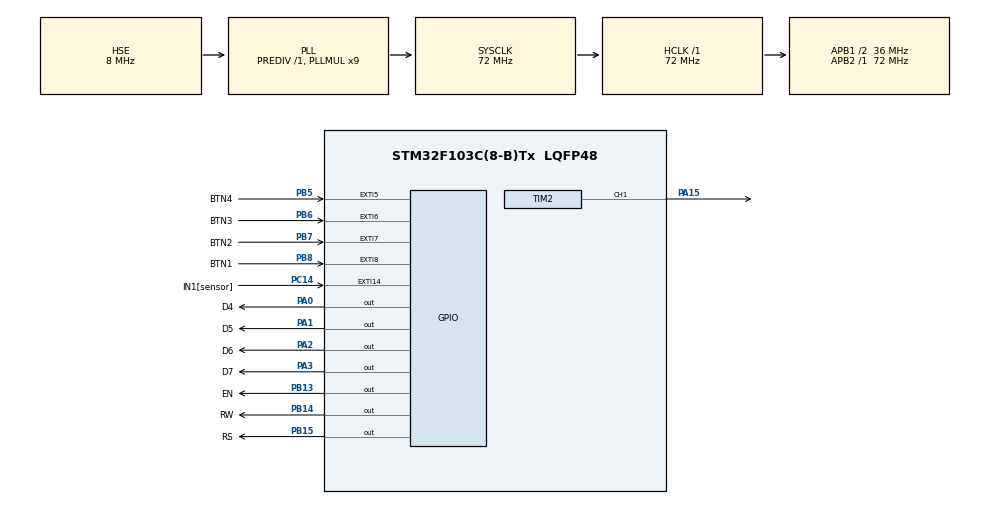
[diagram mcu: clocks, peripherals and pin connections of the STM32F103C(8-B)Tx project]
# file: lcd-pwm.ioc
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Mcu.Family=STM32F1
Mcu.Name=STM32F103C(8-B)Tx
Mcu.Package=LQFP48
NVIC.EXTI15_10_IRQn=true\:0\:0\:false\:false\:true\:true\:true
NVIC.EXTI9_5_IRQn=true\:0\:0\:false\:false\:true\:true\:true
NVIC.PriorityGroup=NVIC_PRIORITYGROUP_4
NVIC.TIM2_IRQn=true\:0\:0\:false\:false\:true\:true\:true
PA0-WKUP.GPIO_Label=D4
PA0-WKUP.Signal=GPIO_Output
PA1.GPIO_Label=D5
PA1.Signal=GPIO_Output
PA13.Mode=Serial_Wire
PA13.Signal=SYS_JTMS-SWDIO
PA14.Mode=Serial_Wire
PA14.Signal=SYS_JTCK-SWCLK
PA15.Signal=S_TIM2_CH1_ETR
PA2.GPIO_Label=D6
PA2.Signal=GPIO_Output
PA3.GPIO_Label=D7
PA3.Signal=GPIO_Output
PB13.GPIO_Label=EN
PB13.Signal=GPIO_Output
PB14.GPIO_Label=RW
PB14.Signal=GPIO_Output
PB15.GPIO_Label=RS
PB15.Signal=GPIO_Output
PB5.GPIO_Label=BTN4
PB5.GPIO_ModeDefaultEXTI=GPIO_MODE_IT_FALLING
PB5.GPIO_PuPd=GPIO_PULLUP
PB5.Signal=GPXTI5
PB6.GPIO_Label=BTN3
PB6.GPIO_ModeDefaultEXTI=GPIO_MODE_IT_FALLING
PB6.GPIO_PuPd=GPIO_PULLUP
PB6.Signal=GPXTI6
PB7.GPIO_Label=BTN2
PB7.GPIO_ModeDefaultEXTI=GPIO_MODE_IT_FALLING
PB7.GPIO_PuPd=GPIO_PULLUP
PB7.Signal=GPXTI7
PB8.GPIO_Label=BTN1
PB8.GPIO_ModeDefaultEXTI=GPIO_MODE_IT_FALLING
PB8.GPIO_PuPd=GPIO_PULLUP
PB8.Signal=GPXTI8
PC14-OSC32_IN.GPIO_Label=IN1[sensor]
PC14-OSC32_IN.GPIO_ModeDefaultEXTI=GPIO_MODE_IT_FALLING
PC14-OSC32_IN.Signal=GPXTI14
PD0-OSC_IN.Mode=HSE-External-Oscillator
PD0-OSC_IN.Signal=RCC_OSC_IN
PD1-OSC_OUT.Mode=HSE-External-Oscillator
PD1-OSC_OUT.Signal=RCC_OSC_OUT
ProjectManager.HeapSize=0x200
ProjectManager.StackSize=0x400
ProjectManager.TargetToolchain=STM32CubeIDE
RCC.AHBFreq_Value=72000000
RCC.APB1CLKDivider=RCC_HCLK_DIV2
RCC.APB1Freq_Value=36000000
RCC.APB1TimFreq_Value=72000000
RCC.APB2Freq_Value=72000000
RCC.APB2TimFreq_Value=72000000
RCC.HCLKFreq_Value=72000000
RCC.PLLMUL=RCC_PLL_MUL9
RCC.PLLSourceVirtual=RCC_PLLSOURCE_HSE
RCC.SYSCLKFreq_VALUE=72000000
RCC.SYSCLKSource=RCC_SYSCLKSOURCE_PLLCLK
RCC.USBFreq_Value=72000000
SH.S_TIM2_CH1_ETR.0=TIM2_CH1,PWM Generation1 CH1
TIM2.AutoReloadPreload=TIM_AUTORELOAD_PRELOAD_ENABLE
TIM2.Channel-PWM\ Generation1\ CH1=TIM_CHANNEL_1
TIM2.Period=65534
TIM2.Prescaler=0
TIM3.Prescaler=71
VP_TIM2_VS_ClockSourceINT.Mode=Internal
VP_TIM3_VS_ClockSourceINT.Mode=Internal
board=custom

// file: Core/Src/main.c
/* USER CODE BEGIN Header */
/**
 ******************************************************************************
 * @file           : main.c
 * @brief          : Main program body
 ******************************************************************************
 * @attention
 *
 * <h2><center>&copy; Copyright (c) 2020 STMicroelectronics.
 * All rights reserved.</center></h2>
 *
 * This software component is licensed by ST under BSD 3-Clause license,
 * the "License"; You may not use this file except in compliance with the
 * License. You may obtain a copy of the License at:
 *                        opensource.org/licenses/BSD-3-Clause
 *
 ******************************************************************************
 */
/* USER CODE END Header */
#include "main.h"
#include "tim.h"
#include "gpio.h"

/* USER CODE BEGIN Includes */
#include "LCD1602.h"
#include "stdio.h"
/* USER CODE END Includes */

/* USER CODE BEGIN PTD */

typedef enum bool {
	false, true
} bool;
/* USER CODE END PTD */

/* USER CODE BEGIN PD */
#define CLOCK 72000000
/* USER CODE END PD */

/* USER CODE BEGIN PV */
uint16_t MAX_PERIOD;
uint16_t PRESCALER;
uint16_t duty = 50;
uint16_t period = 100;
uint16_t sensor_counter = 0;
bool valueChanged = false;
/* USER CODE END PV */

void SystemClock_Config(void);
/* USER CODE BEGIN PFP */
void HAL_GPIO_EXTI_Callback(uint16_t GPIO_Pin);
int calculacte_frequency();
int calculate_duty();
bool check_value_change(int, int);
void increase_duty();
void decrease_duty();
void increase_frequency();
void decrease_frequency();
/* USER CODE END PFP */

int main(void) {
	/* USER CODE BEGIN 1 */
	char buffer[20] = "INITIALIZATION";
	uint16_t oldPeriod = period;
	uint16_t oldDuty = duty;
	bool valueChanged = false;

	/* USER CODE END 1 */

	/* MCU Configuration--------------------------------------------------------*/

	/* Reset of all peripherals, Initializes the Flash interface and the Systick. */
	HAL_Init();

	/* Configure the system clock */
	SystemClock_Config();

	/* Initialize all configured peripherals */
	MX_GPIO_Init();
	MX_TIM3_Init();
	MX_TIM2_Init();
	/* USER CODE BEGIN 2 */
	MAX_PERIOD = htim2.Instance->ARR;
	PRESCALER = htim2.Instance->PSC;
	HAL_TIM_Base_Start(&htim3);
	HAL_TIM_PWM_Start(&htim2, TIM_CHANNEL_1);
	__HAL_TIM_SET_COMPARE(&htim2, TIM_CHANNEL_1, duty);

	lcd_init();
	lcd_send_string(buffer);
	HAL_Delay(3000);
	lcd_clear();
	/* USER CODE END 2 */

	/* Infinite loop */
	/* USER CODE BEGIN WHILE */

	while (1) {
		__HAL_TIM_SET_AUTORELOAD(&htim2, period);
		__HAL_TIM_SET_COMPARE(&htim2, TIM_CHANNEL_1, duty);

		valueChanged = check_value_change(oldDuty, oldPeriod);
		if (valueChanged) {
			lcd_clear();
			lcd_put_cur(0, 0);
			sprintf(buffer, "Freq: %d KHz", calculacte_frequency());
			lcd_send_string(buffer);
			oldPeriod = period;

			lcd_put_cur(1, 0);
			sprintf(buffer, "Duty: %d", calculate_duty());
			lcd_send_string(buffer);
			lcd_send_string("%");
			oldDuty = duty;
		}

	}
	/* USER CODE END 3 */
}

void SystemClock_Config(void) {
	RCC_OscInitTypeDef RCC_OscInitStruct = { 0 };
	RCC_ClkInitTypeDef RCC_ClkInitStruct = { 0 };

	/** Initializes the RCC Oscillators according to the specified parameters
	 * in the RCC_OscInitTypeDef structure.
	 */
	RCC_OscInitStruct.OscillatorType = RCC_OSCILLATORTYPE_HSE;
	RCC_OscInitStruct.HSEState = RCC_HSE_ON;
	RCC_OscInitStruct.HSEPredivValue = RCC_HSE_PREDIV_DIV1;
	RCC_OscInitStruct.HSIState = RCC_HSI_ON;
	RCC_OscInitStruct.PLL.PLLState = RCC_PLL_ON;
	RCC_OscInitStruct.PLL.PLLSource = RCC_PLLSOURCE_HSE;
	RCC_OscInitStruct.PLL.PLLMUL = RCC_PLL_MUL9;
	if (HAL_RCC_OscConfig(&RCC_OscInitStruct) != HAL_OK) {
		Error_Handler();
	}
	/** Initializes the CPU, AHB and APB buses clocks
	 */
	RCC_ClkInitStruct.ClockType = RCC_CLOCKTYPE_HCLK | RCC_CLOCKTYPE_SYSCLK
			| RCC_CLOCKTYPE_PCLK1 | RCC_CLOCKTYPE_PCLK2;
	RCC_ClkInitStruct.SYSCLKSource = RCC_SYSCLKSOURCE_PLLCLK;
	RCC_ClkInitStruct.AHBCLKDivider = RCC_SYSCLK_DIV1;
	RCC_ClkInitStruct.APB1CLKDivider = RCC_HCLK_DIV2;
	RCC_ClkInitStruct.APB2CLKDivider = RCC_HCLK_DIV1;

	if (HAL_RCC_ClockConfig(&RCC_ClkInitStruct, FLASH_LATENCY_2) != HAL_OK) {
		Error_Handler();
	}
}

/* USER CODE BEGIN 4 */

void HAL_GPIO_EXTI_Callback(uint16_t GPIO_Pin) {
	/*
	 if (GPIO_Pin == BTN1_Pin) {
	 if (period < MAX_PERIOD) {
	 period++;
	 duty = period / 2;
	 }
	 } else if (GPIO_Pin == BTN2_Pin) {
	 if (period > 0) {
	 period--;
	 duty = period / 2;
	 }
	 } else if (GPIO_Pin == BTN3_Pin) {
	 if (duty > 1)
	 duty--;
	 } else if (GPIO_Pin == BTN4_Pin) {
	 if (duty < period)
	 duty++;
	 }
	 */
	int i = 500000;
	if (GPIO_Pin == BTN1_Pin) {
		while (i)
			i--;
		increase_duty();
	} else if (GPIO_Pin == BTN2_Pin) {
		while (i)
			i--;
		decrease_duty();
	} else if (GPIO_Pin == BTN3_Pin) {
		while (i)
			i--;
		increase_frequency();
	} else if (GPIO_Pin == BTN4_Pin) {
		while (i)
			i--;
		decrease_frequency();
	}
}

int calculacte_frequency() {
	return CLOCK / ((period + 1) * (PRESCALER + 1));		  // / 1000;
}

int calculate_duty() {
	float result;
	result = (float) duty / (float) period * 100;

	return (int) result;
}

bool check_value_change(int oldDuty, int oldPeriod) {
	if (oldDuty != duty || oldPeriod != period)
		return true;
	else
		return false;

}

void increase_duty() {
	int oldDuty = calculate_duty();
	int step = 2;
	int tmp;

	if (TIM2->CCR1 < TIM2->ARR)
		do {
			duty++;
			tmp = calculate_duty();
			if (tmp == TIM2->ARR)
				break;
		} while ((tmp - oldDuty) < step);
}

void decrease_duty() {
	int oldDuty = calculate_duty();
	int step = 2;
	int tmp;

	if (TIM2->CCR1 > 0)
		do {
			duty--;
			tmp = calculate_duty();
			if (tmp == 0)
				break;
		} while ((oldDuty - tmp) < step);
}

void increase_frequency() {

}

void decrease_frequency() {

}

/* USER CODE END 4 */

void Error_Handler(void) {
}

/************************ (C) COPYRIGHT STMicroelectronics *****END OF FILE****/
